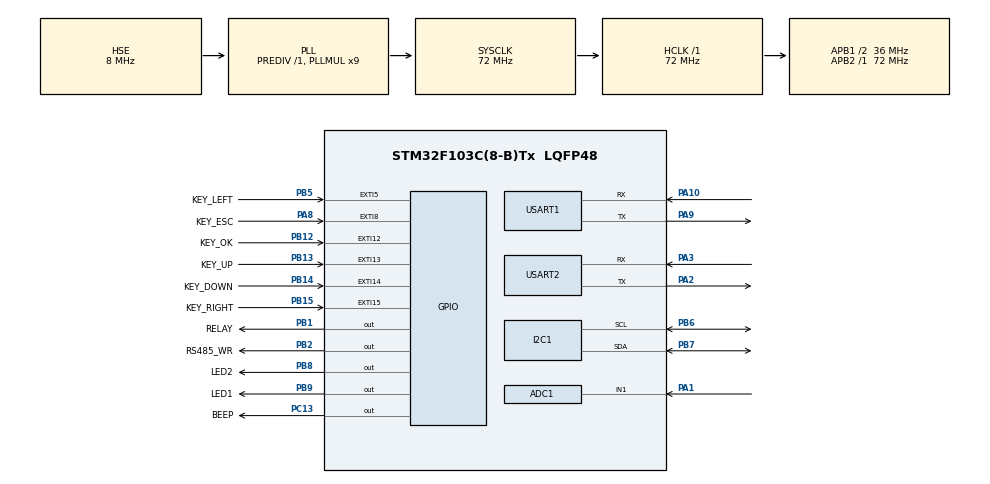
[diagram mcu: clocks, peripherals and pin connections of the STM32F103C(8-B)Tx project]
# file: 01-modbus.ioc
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ADC1.Channel-0\#ChannelRegularConversion=ADC_CHANNEL_1
ADC1.NbrOfConversionFlag=1
ADC1.Rank-0\#ChannelRegularConversion=1
ADC1.SamplingTime-0\#ChannelRegularConversion=ADC_SAMPLETIME_239CYCLES_5
ADC1.master=1
Mcu.Family=STM32F1
Mcu.Name=STM32F103C(8-B)Tx
Mcu.Package=LQFP48
NVIC.EXTI15_10_IRQn=true\:0\:0\:true\:false\:true\:true\:true\:true
NVIC.EXTI9_5_IRQn=true\:0\:0\:true\:false\:true\:true\:true\:true
NVIC.PriorityGroup=NVIC_PRIORITYGROUP_4
NVIC.TIM1_UP_IRQn=true\:0\:0\:false\:false\:true\:true\:true\:true
NVIC.TIM3_IRQn=true\:2\:0\:true\:false\:false\:true\:true\:true
NVIC.USART2_IRQn=true\:0\:0\:false\:false\:false\:true\:true\:true
PA1.Signal=ADCx_IN1
PA10.Mode=Asynchronous
PA10.Signal=USART1_RX
PA13.Mode=Serial_Wire
PA13.Signal=SYS_JTMS-SWDIO
PA14.Mode=Serial_Wire
PA14.Signal=SYS_JTCK-SWCLK
PA2.Mode=Asynchronous
PA2.Signal=USART2_TX
PA3.Mode=Asynchronous
PA3.Signal=USART2_RX
PA8.GPIO_Label=KEY_ESC
PA8.GPIO_ModeDefaultEXTI=GPIO_MODE_IT_FALLING
PA8.GPIO_PuPd=GPIO_PULLUP
PA8.Signal=GPXTI8
PA9.Mode=Asynchronous
PA9.Signal=USART1_TX
PB1.GPIO_Label=RELAY
PB1.Signal=GPIO_Output
PB12.GPIO_Label=KEY_OK
PB12.GPIO_ModeDefaultEXTI=GPIO_MODE_IT_FALLING
PB12.GPIO_PuPd=GPIO_PULLUP
PB12.Signal=GPXTI12
PB13.GPIO_Label=KEY_UP
PB13.GPIO_ModeDefaultEXTI=GPIO_MODE_IT_FALLING
PB13.GPIO_PuPd=GPIO_PULLUP
PB13.Signal=GPXTI13
PB14.GPIO_Label=KEY_DOWN
PB14.GPIO_ModeDefaultEXTI=GPIO_MODE_IT_FALLING
PB14.GPIO_PuPd=GPIO_PULLUP
PB14.Signal=GPXTI14
PB15.GPIO_Label=KEY_RIGHT
PB15.GPIO_ModeDefaultEXTI=GPIO_MODE_IT_FALLING
PB15.GPIO_PuPd=GPIO_PULLUP
PB15.Signal=GPXTI15
PB2.GPIO_Label=RS485_WR
PB2.GPIO_Speed=GPIO_SPEED_FREQ_HIGH
PB2.Signal=GPIO_Output
PB5.GPIO_Label=KEY_LEFT
PB5.GPIO_ModeDefaultEXTI=GPIO_MODE_IT_FALLING
PB5.GPIO_PuPd=GPIO_PULLUP
PB5.Signal=GPXTI5
PB6.Mode=I2C
PB6.Signal=I2C1_SCL
PB7.Mode=I2C
PB7.Signal=I2C1_SDA
PB8.GPIO_Label=LED2
PB8.PinState=GPIO_PIN_SET
PB8.Signal=GPIO_Output
PB9.GPIO_Label=LED1
PB9.PinState=GPIO_PIN_SET
PB9.Signal=GPIO_Output
PC13-TAMPER-RTC.GPIO_Label=BEEP
PC13-TAMPER-RTC.Signal=GPIO_Output
PC14-OSC32_IN.Mode=LSE-External-Oscillator
PC14-OSC32_IN.Signal=RCC_OSC32_IN
PC15-OSC32_OUT.Mode=LSE-External-Oscillator
PC15-OSC32_OUT.Signal=RCC_OSC32_OUT
PD0-OSC_IN.Mode=HSE-External-Oscillator
PD0-OSC_IN.Signal=RCC_OSC_IN
PD1-OSC_OUT.Mode=HSE-External-Oscillator
PD1-OSC_OUT.Signal=RCC_OSC_OUT
ProjectManager.HeapSize=0x200
ProjectManager.StackSize=0x400
ProjectManager.TargetToolchain=MDK-ARM V5.32
RCC.ADCPresc=RCC_ADCPCLK2_DIV6
RCC.AHBFreq_Value=72000000
RCC.APB1CLKDivider=RCC_HCLK_DIV2
RCC.APB1Freq_Value=36000000
RCC.APB1TimFreq_Value=72000000
RCC.APB2Freq_Value=72000000
RCC.APB2TimFreq_Value=72000000
RCC.HCLKFreq_Value=72000000
RCC.PLLMUL=RCC_PLL_MUL9
RCC.PLLSourceVirtual=RCC_PLLSOURCE_HSE
RCC.RTCClockSelection=RCC_RTCCLKSOURCE_LSE
RCC.SYSCLKFreq_VALUE=72000000
RCC.SYSCLKSource=RCC_SYSCLKSOURCE_PLLCLK
RCC.USBFreq_Value=72000000
RTC.Date=4
RTC.Hours=10
RTC.Minutes=20
RTC.Month=RTC_MONTH_SEPTEMBER
RTC.Seconds=30
RTC.WeekDay=RTC_WEEKDAY_THURSDAY
RTC.Year=25
SH.ADCx_IN1.0=ADC1_IN1,IN1
TIM1.AutoReloadPreload=TIM_AUTORELOAD_PRELOAD_ENABLE
TIM1.Period=5000
TIM1.Prescaler=7200-1
TIM3.AutoReloadPreload=TIM_AUTORELOAD_PRELOAD_DISABLE
TIM3.Period=100
TIM3.Prescaler=3599
USART1.VirtualMode=VM_ASYNC
USART2.VirtualMode=VM_ASYNC
VP_RTC_No_RTC_Output.Mode=RTC_OUT_NO
VP_RTC_VS_RTC_Activate.Mode=RTC_Enabled
VP_RTC_VS_RTC_Calendar.Mode=RTC_Calendar
VP_TIM1_VS_ClockSourceINT.Mode=Internal
VP_TIM3_VS_ClockSourceINT.Mode=Internal
board=custom

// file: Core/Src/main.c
/* USER CODE BEGIN Header */
/**
  ******************************************************************************
  * @file           : main.c
  * @brief          : Main program body
  ******************************************************************************
  * @attention
  *
  * Copyright (c) 2025 STMicroelectronics.
  * All rights reserved.
  *
  * This software is licensed under terms that can be found in the LICENSE file
  * in the root directory of this software component.
  * If no LICENSE file comes with this software, it is provided AS-IS.
  *
  ******************************************************************************
  */
/* USER CODE END Header */
#include "main.h"
#include "adc.h"
#include "i2c.h"
#include "rtc.h"
#include "tim.h"
#include "usart.h"
#include "gpio.h"

/* USER CODE BEGIN Includes */
#include <stdio.h>
#include "oled.h"
#include "aht20.h"
#include "ina226.h"
#include "mb.h"
#include "modbus.h"
/* USER CODE END Includes */

void SystemClock_Config(void);

int main(void)
{

  /* MCU Configuration--------------------------------------------------------*/

  /* Reset of all peripherals, Initializes the Flash interface and the Systick. */
  HAL_Init();

  /* Configure the system clock */
  SystemClock_Config();

  /* Initialize all configured peripherals */
  MX_GPIO_Init();
  MX_USART1_UART_Init();
  MX_I2C1_Init();
  MX_RTC_Init();
  MX_ADC1_Init();
  MX_TIM3_Init();
  MX_USART2_UART_Init();
  MX_TIM1_Init();
  /* USER CODE BEGIN 2 */
	printf("Uart1 init is ok\n");
	printf("Modbus Test\n");
	//EEPROM_Test();
	OLED_Init();
	OLED_CLS(); // 清除屏幕显示
	OLED_ShowStr(16,0, (unsigned char*)"Modbus Control", 2);
	AHT20_Init();
	INA226_Init();

	HAL_TIM_Base_Start_IT(&htim1); // 使能定时器1中断
	Modbus_Init();
  /* USER CODE END 2 */

  /* Infinite loop */
  /* USER CODE BEGIN WHILE */
  while (1)
  {
		eMBPoll();// 轮训查询
		Modbus_Parse();
    /* USER CODE END WHILE */

  }
}

void SystemClock_Config(void)
{
  RCC_OscInitTypeDef RCC_OscInitStruct = {0};
  RCC_ClkInitTypeDef RCC_ClkInitStruct = {0};
  RCC_PeriphCLKInitTypeDef PeriphClkInit = {0};

  /** Initializes the RCC Oscillators according to the specified parameters
  * in the RCC_OscInitTypeDef structure.
  */
  RCC_OscInitStruct.OscillatorType = RCC_OSCILLATORTYPE_HSE|RCC_OSCILLATORTYPE_LSE;
  RCC_OscInitStruct.HSEState = RCC_HSE_ON;
  RCC_OscInitStruct.HSEPredivValue = RCC_HSE_PREDIV_DIV1;
  RCC_OscInitStruct.LSEState = RCC_LSE_ON;
  RCC_OscInitStruct.HSIState = RCC_HSI_ON;
  RCC_OscInitStruct.PLL.PLLState = RCC_PLL_ON;
  RCC_OscInitStruct.PLL.PLLSource = RCC_PLLSOURCE_HSE;
  RCC_OscInitStruct.PLL.PLLMUL = RCC_PLL_MUL9;
  if (HAL_RCC_OscConfig(&RCC_OscInitStruct) != HAL_OK)
  {
    Error_Handler();
  }

  /** Initializes the CPU, AHB and APB buses clocks
  */
  RCC_ClkInitStruct.ClockType = RCC_CLOCKTYPE_HCLK|RCC_CLOCKTYPE_SYSCLK
                              |RCC_CLOCKTYPE_PCLK1|RCC_CLOCKTYPE_PCLK2;
  RCC_ClkInitStruct.SYSCLKSource = RCC_SYSCLKSOURCE_PLLCLK;
  RCC_ClkInitStruct.AHBCLKDivider = RCC_SYSCLK_DIV1;
  RCC_ClkInitStruct.APB1CLKDivider = RCC_HCLK_DIV2;
  RCC_ClkInitStruct.APB2CLKDivider = RCC_HCLK_DIV1;

  if (HAL_RCC_ClockConfig(&RCC_ClkInitStruct, FLASH_LATENCY_2) != HAL_OK)
  {
    Error_Handler();
  }
  PeriphClkInit.PeriphClockSelection = RCC_PERIPHCLK_RTC|RCC_PERIPHCLK_ADC;
  PeriphClkInit.RTCClockSelection = RCC_RTCCLKSOURCE_LSE;
  PeriphClkInit.AdcClockSelection = RCC_ADCPCLK2_DIV6;
  if (HAL_RCCEx_PeriphCLKConfig(&PeriphClkInit) != HAL_OK)
  {
    Error_Handler();
  }
}

void Error_Handler(void)
{
  __disable_irq();
  while (1)
  {
  }
}
